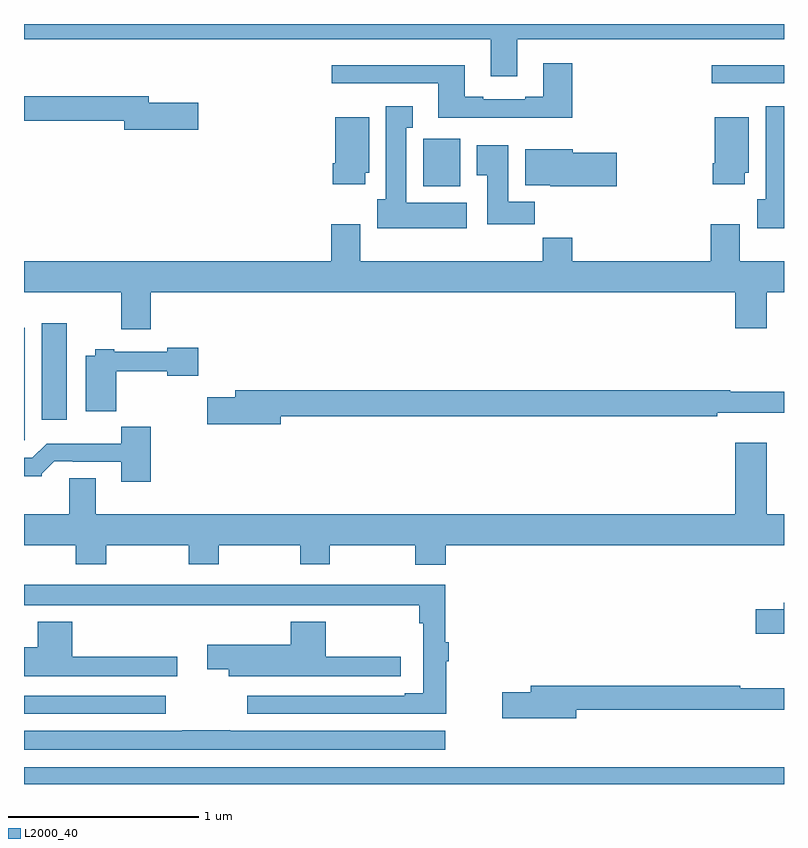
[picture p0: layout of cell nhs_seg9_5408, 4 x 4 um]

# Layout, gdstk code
import gdstk
lib = gdstk.Library(unit=1e-6, precision=1e-09)
def R(c, l, rs):  # rectangles x0, y0, x1, y1
    for r in rs: c.add(gdstk.rectangle(r[:2], r[2:], *l))
def P(c, l, *ps):  # polygons
    for p in ps: c.add(gdstk.Polygon(p, *l))
L2000_40 = (2000, 40)

nhs_seg9_5408 = lib.new_cell('nhs_seg9_5408')
R(nhs_seg9_5408, L2000_40, [(425,1192.5,429,1192.588), (425,1192.869,425.746,1192.965), (425,1194.309,425.005,1194.901), (425.093,1194.417,425.224,1194.925), (427.101,1195.646,427.297,1195.896), (428.619,1196.187,429,1196.284)])
P(nhs_seg9_5408, L2000_40, [(427.597,1196.42),(429,1196.42),(429,1196.5),(425,1196.5),(425,1196.42),(427.457,1196.42),(427.457,1196.226),(427.597,1196.226)],
  [(427.886,1196.293),(427.733,1196.293),(427.733,1196.116),(427.637,1196.116),(427.637,1196.103),(427.417,1196.103),(427.417,1196.116),(427.321,1196.116),(427.321,1196.284),(426.621,1196.284),(426.621,1196.187),(427.181,1196.187),(427.181,1196.006),(427.886,1196.006)],
  [(425.917,1196.085),(425.656,1196.085),(425.656,1196.119),(425,1196.119),(425,1195.99),(425.528,1195.99),(425.528,1195.943),(425.917,1195.943)],
  [(429,1196.068),(428.903,1196.068),(428.903,1195.578),(428.858,1195.578),(428.858,1195.424),(429,1195.424)],
  [(427.33,1195.558),(427.012,1195.558),(427.012,1195.955),(427.045,1195.955),(427.045,1196.068),(426.905,1196.068),(426.905,1195.578),(426.86,1195.578),(426.86,1195.424),(427.33,1195.424)],
  [(426.796,1195.716),(426.817,1195.716),(426.817,1196.008),(426.638,1196.008),(426.638,1195.768),(426.626,1195.768),(426.626,1195.656),(426.796,1195.656)],
  [(428.794,1195.716),(428.815,1195.716),(428.815,1196.008),(428.636,1196.008),(428.636,1195.768),(428.624,1195.768),(428.624,1195.656),(428.794,1195.656)],
  [(427.688,1195.564),(427.549,1195.564),(427.549,1195.861),(427.382,1195.861),(427.382,1195.705),(427.439,1195.705),(427.439,1195.446),(427.688,1195.446)],
  [(428.119,1195.823),(427.888,1195.823),(427.888,1195.84),(427.637,1195.84),(427.637,1195.652),(427.77,1195.652),(427.77,1195.646),(428.119,1195.646)],
  [(428.744,1194.9),(428.908,1194.9),(428.908,1195.088),(429,1195.088),(429,1195.252),(428.767,1195.252),(428.767,1195.447),(428.615,1195.447),(428.615,1195.252),(427.886,1195.252),(427.886,1195.376),(427.729,1195.376),(427.729,1195.252),(426.769,1195.252),(426.769,1195.447),(426.617,1195.447),(426.617,1195.252),(425,1195.252),(425,1195.088),(425.513,1195.088),(425.513,1194.894),(425.666,1194.894),(425.666,1195.088),(428.744,1195.088)],
  [(425.486,1194.673),(425.754,1194.673),(425.754,1194.65),(425.917,1194.65),(425.917,1194.795),(425.754,1194.795),(425.754,1194.774),(425.476,1194.774),(425.476,1194.787),(425.376,1194.787),(425.376,1194.754),(425.324,1194.754),(425.324,1194.461),(425.486,1194.461)],
  [(426.352,1194.436),(428.648,1194.436),(428.648,1194.455),(429,1194.455),(429,1194.565),(428.717,1194.565),(428.717,1194.572),(426.113,1194.572),(426.113,1194.536),(425.964,1194.536),(425.964,1194.394),(426.352,1194.394)],
  [(425.666,1194.379),(425.511,1194.379),(425.511,1194.292),(425.119,1194.292),(425.043,1194.216),(425,1194.216),(425,1194.119),(425.094,1194.119),(425.094,1194.134),(425.158,1194.198),(425.257,1194.198),(425.257,1194.195),(425.513,1194.195),(425.513,1194.09),(425.666,1194.09)],
  [(427.22,1193.756),(429,1193.756),(429,1193.92),(428.908,1193.92),(428.908,1194.295),(428.744,1194.295),(428.744,1193.92),(425.377,1193.92),(425.377,1194.11),(425.237,1194.11),(425.237,1193.92),(425,1193.92),(425,1193.756),(425.273,1193.756),(425.273,1193.657),(425.433,1193.657),(425.433,1193.756),(425.866,1193.756),(425.866,1193.657),(426.024,1193.657),(426.024,1193.756),(426.454,1193.756),(426.454,1193.657),(426.609,1193.657),(426.609,1193.756),(427.06,1193.756),(427.06,1193.654),(427.22,1193.654)],
  [(427.222,1193.147),(427.235,1193.147),(427.235,1193.247),(427.217,1193.247),(427.217,1193.548),(425,1193.548),(425,1193.441),(427.081,1193.441),(427.081,1193.345),(427.1,1193.345),(427.1,1192.978),(427.004,1192.978),(427.004,1192.965),(426.174,1192.965),(426.174,1192.869),(427.222,1192.869)],
  [(429,1193.455),(428.999,1193.455),(428.999,1193.421),(428.85,1193.421),(428.85,1193.291),(429,1193.291)],
  [(425.806,1193.17),(425.255,1193.17),(425.255,1193.353),(425.072,1193.353),(425.072,1193.221),(425,1193.221),(425,1193.066),(425.806,1193.066)],
  [(426.982,1193.17),(426.587,1193.17),(426.587,1193.353),(426.404,1193.353),(426.404,1193.233),(425.964,1193.233),(425.964,1193.104),(426.077,1193.104),(426.077,1193.066),(426.982,1193.066)],
  [(427.906,1192.89),(429,1192.89),(429,1193.003),(428.771,1193.003),(428.771,1193.018),(427.667,1193.018),(427.667,1192.982),(427.518,1192.982),(427.518,1192.847),(427.906,1192.847)],
  [(427.216,1192.78),(426.086,1192.78),(426.086,1192.783),(425.833,1192.783),(425.833,1192.78),(425,1192.78),(425,1192.679),(427.216,1192.679)])

lib.write_gds('nhs_seg9_5408.gds')
